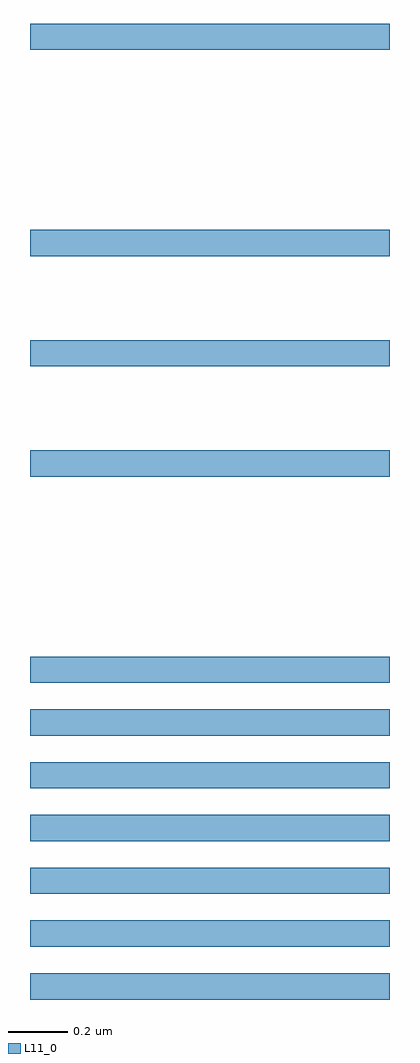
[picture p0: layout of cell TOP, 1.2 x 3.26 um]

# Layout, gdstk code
import gdstk
lib = gdstk.Library(unit=1e-6, precision=1e-09)
def R(c, l, rs):  # rectangles x0, y0, x1, y1
    for r in rs: c.add(gdstk.rectangle(r[:2], r[2:], *l))
def A(c, l, x, y, w, h, nx, ny, dx, dy):  # array of equal rectangles
    R(c, l, [(x+i*dx, y+j*dy, x+i*dx+w, y+j*dy+h) for i in range(nx) for j in range(ny)])
L11_0 = (11, 0)

top = lib.new_cell('TOP')
A(top, L11_0, 0.1, 0.1, 1.2, 0.088, 1, 7, 0, 0.176)
A(top, L11_0, 0.1, 1.844, 1.2, 0.088, 1, 3, 0, 0.368)
R(top, L11_0, [(0.1,3.268,1.3,3.356)])

lib.write_gds('TOP.gds')
